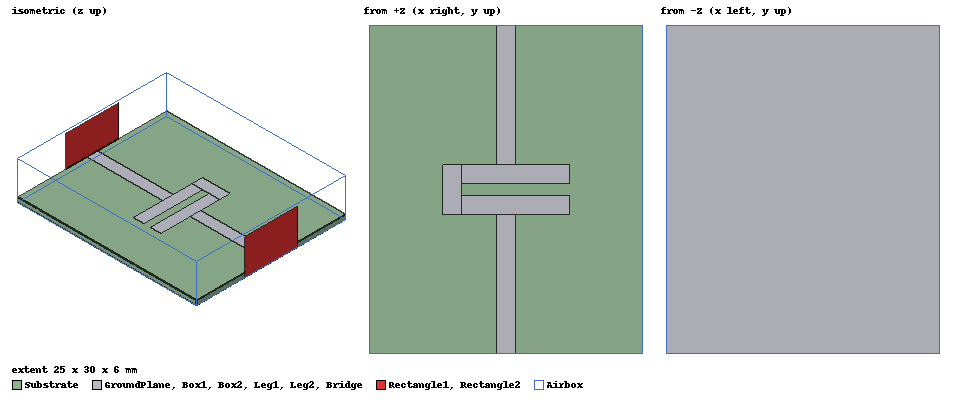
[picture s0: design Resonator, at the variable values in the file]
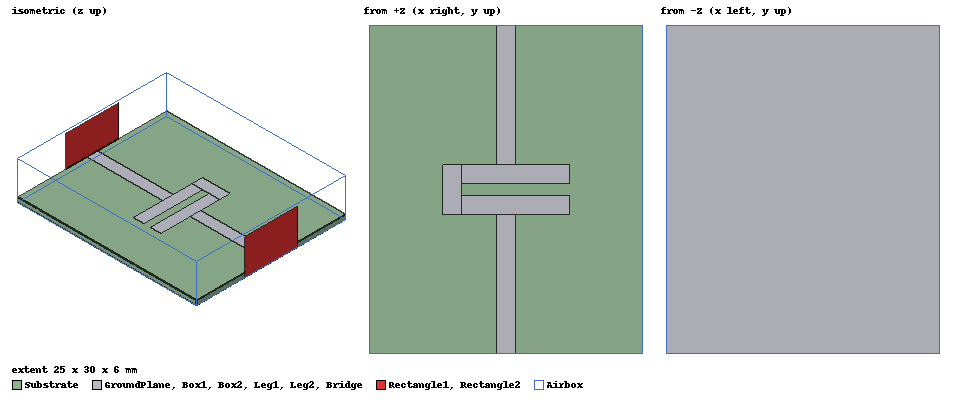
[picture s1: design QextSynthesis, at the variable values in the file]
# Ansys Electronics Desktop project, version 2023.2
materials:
  vacuum: permittivity=1
  Rogers RO4003 (tm): permittivity=3.55 dielectric_loss_tangent=0.0027
  copper: permeability=0.999991 conductivity=58000000
  pec: conductivity=1e+30
  LossLess-Rogers RO4003 (tm): permittivity=3.55

design Resonator (HFSS, HFSS Modal Network, model units mm)
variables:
  AirboxWidth = 30mm
  MicrostripWidth = 1.75mm
  Thickness = 31mil
  Len = 24.27065996mm
  LegR1 = (1-BridgeR2)/2
  BridgeR2 = 0.19
  R1x = AirboxHeight/2- (MicrostripWidth + LegR1*Len)/2
  R1y = AirboxWidth/2 - BridgeR2*Len/2
  AirboxHeight = 25mm
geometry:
  Substrate [LossLess-Rogers RO4003 (tm)] = box(corner=(0mm, 0mm, 17um), size=(AirboxHeight, AirboxWidth, Thickness-17um))
  Airbox [vacuum] = box(corner=(0mm, 0mm, 0mm), size=(AirboxHeight, AirboxWidth, 250mil))
  GroundPlane [pec] = box(corner=(0mm, 0mm, 0mm), size=(AirboxHeight, AirboxWidth, 17um))
  Leg1 [pec] = box(corner=(MicrostripWidth+R1x, R1y, Thickness), size=(Len*LegR1, MicrostripWidth, 17um))
  Bridge [pec] = box(corner=(R1x, R1y, Thickness), size=(MicrostripWidth, Len*BridgeR2, 17um))
  Leg2 [pec] = box(corner=(MicrostripWidth+R1x, R1y+BridgeR2*Len-MicrostripWidth, Thickness), size=(Len*(1-LegR1-BridgeR2), MicrostripWidth, 17um))
  Box1 [pec] = box(corner=(AirboxHeight/2-MicrostripWidth/2, 0mm, Thickness), size=(MicrostripWidth, R1y, 17um))
  Box2 [pec] = box(corner=(AirboxHeight/2-MicrostripWidth/2, AirboxWidth-R1y, Thickness), size=(MicrostripWidth, R1y, 17um))
  Rectangle1 = rectangle(corner=(AirboxHeight/2 - (5/2*MicrostripWidth), 0mm, 0mm), z_size=6mm, x_size=5*MicrostripWidth)
  Polyline2 = polyline(z=0.8044mm, xy in mm: (9.127634507, 18.640599) (7.377634507, 15) (7.377634507, 18.640599) (9.127634507, 18.640599), closed, covered)
  Bridge.subtract(Polyline2)
  Rectangle2 = rectangle(corner=(AirboxHeight/2 - (5/2*MicrostripWidth), AirboxWidth, 0mm), z_size=6mm, x_size=5*MicrostripWidth)
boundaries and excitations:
  1: Wave Port Objects=Rectangle1 WavePortType=Default NumModes=1 Modes{Mode1{CharImp=Zpi}}
  2: Wave Port Objects=Rectangle2 WavePortType=Modal NumModes=1 Modes{Mode1{CharImp=Zpi}}
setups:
  Setup1: HfssDriven Frequency=3.6GHz MaxDeltaS=0.005 MaximumPasses=10 MinimumPasses=1 MinimumConvergedPasses=1 PercentRefinement=30 BasisOrder=1 PortAccuracy=2 DrivenSolverType="Direct Solver"
    sweep Sweep: 1.8GHz to 5.4GHz, 401 points; Type=Interpolating InterpTolerance=0.5 InterpMaxSolns=250 InterpUsePortImped=false PassivityErrorTolerance=0.0001
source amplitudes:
  1:1: 1W 0deg
  2:1: 0W 0deg
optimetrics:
  ParametricSetup1: Parametric Sim._Setups=[Setup1]
    sweep BridgeR2: LIN 0.15 0.2 0.02
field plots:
  ComplexMag_E1, ComplexMag_E2: E Field in Airbox on Setup1 : LastAdaptive at Freq=3.6GHz Phase=0deg
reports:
  S Parameter Plot 1: dB(S(1,1)) vs Freq on Setup1 : Sweep; markers MX1 at x=3.6e+09
  S Parameter Plot 2: dB(S(2,1)) vs Freq on Setup1 : Sweep

design QextSynthesis (HFSS, HFSS Modal Network, model units mm)
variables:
  AirboxWidth = 30mm
  MicrostripWidth = 1.75mm
  Thickness = 31mil
  Len = 24.27065996mm
  LegR1 = (1-BridgeR2)/2
  BridgeR2 = 0.19
  R1x = AirboxHeight/2- (MicrostripWidth + LegR1*Len)/2
  R1y = AirboxWidth/2 - BridgeR2*Len/2
  AirboxHeight = 25mm
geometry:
  Substrate [LossLess-Rogers RO4003 (tm)] = box(corner=(0mm, 0mm, 17um), size=(AirboxHeight, AirboxWidth, Thickness-17um))
  Airbox [vacuum] = box(corner=(0mm, 0mm, 0mm), size=(AirboxHeight, AirboxWidth, 250mil))
  GroundPlane [pec] = box(corner=(0mm, 0mm, 0mm), size=(AirboxHeight, AirboxWidth, 17um))
  Leg1 [pec] = box(corner=(MicrostripWidth+R1x, R1y, Thickness), size=(Len*LegR1, MicrostripWidth, 17um))
  Bridge [pec] = box(corner=(R1x, R1y, Thickness), size=(MicrostripWidth, Len*BridgeR2, 17um))
  Leg2 [pec] = box(corner=(MicrostripWidth+R1x, R1y+BridgeR2*Len-MicrostripWidth, Thickness), size=(Len*(1-LegR1-BridgeR2), MicrostripWidth, 17um))
  Box1 [pec] = box(corner=(AirboxHeight/2-MicrostripWidth/2, 0mm, Thickness), size=(MicrostripWidth, R1y, 17um))
  Box2 [pec] = box(corner=(AirboxHeight/2-MicrostripWidth/2, AirboxWidth-R1y, Thickness), size=(MicrostripWidth, R1y, 17um))
  Rectangle1 = rectangle(corner=(AirboxHeight/2 - (5/2*MicrostripWidth), 0mm, 0mm), z_size=6mm, x_size=5*MicrostripWidth)
  Polyline2 = polyline(z=0.8044mm, xy in mm: (9.127634507, 18.640599) (7.377634507, 15) (7.377634507, 18.640599) (9.127634507, 18.640599), closed, covered)
  Bridge.subtract(Polyline2)
  Rectangle2 = rectangle(corner=(AirboxHeight/2 - (5/2*MicrostripWidth), AirboxWidth, 0mm), z_size=6mm, x_size=5*MicrostripWidth)
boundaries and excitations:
  1: Wave Port Objects=Rectangle1 WavePortType=Modal NumModes=1 Modes{Mode1{CharImp=Zpi}}
  2: Wave Port Objects=Rectangle2 WavePortType=Modal NumModes=1 Modes{Mode1{CharImp=Zpi}}
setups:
  Setup1: HfssDriven Frequency=3.6GHz MaxDeltaS=0.005 MaximumPasses=10 MinimumPasses=1 MinimumConvergedPasses=1 PercentRefinement=30 BasisOrder=1 PortAccuracy=2 DrivenSolverType="Direct Solver"
    sweep Sweep: 1.8GHz to 5.4GHz, 401 points; Type=Interpolating InterpTolerance=0.5 InterpMaxSolns=250 InterpUsePortImped=false PassivityErrorTolerance=0.0001
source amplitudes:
  1:1: 1W 0deg
  2:1: 0W 0deg
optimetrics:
  ParametricSetup1: Parametric Sim._Setups=[Setup1]
    sweep BridgeR2: LIN 0.15 0.2 0.02
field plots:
  ComplexMag_E1, ComplexMag_E2: E Field in Airbox on Setup1 : LastAdaptive at Freq=3.6GHz Phase=0deg
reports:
  S Parameter Plot 1: dB(S(1,1)) vs Freq on Setup1 : Sweep; markers MX1 at x=3.6e+09
  S Parameter Plot 2: dB(S(2,1)) vs Freq on Setup1 : Sweep
